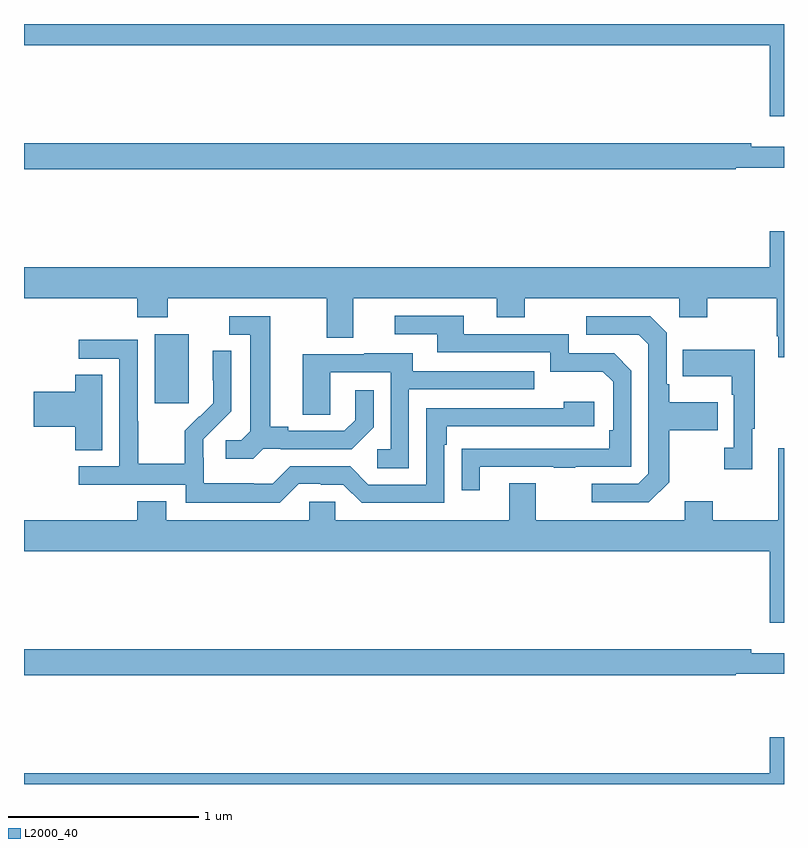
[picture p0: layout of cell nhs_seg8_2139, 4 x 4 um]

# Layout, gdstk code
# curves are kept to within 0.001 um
import gdstk
lib = gdstk.Library(unit=1e-6, precision=1e-09)
def R(c, l, rs):  # rectangles x0, y0, x1, y1
    for r in rs: c.add(gdstk.rectangle(r[:2], r[2:], *l))
def P(c, l, *ps):  # polygons
    for p in ps: c.add(gdstk.Polygon(p, *l))
L2000_40 = (2000, 40)

nhs_seg8_2139 = lib.new_cell('nhs_seg8_2139')
R(nhs_seg8_2139, L2000_40, [(245.687,1159.905,245.866,1160.266)])
P(nhs_seg8_2139, L2000_40, [(249,1161.9),(245,1161.9),(245,1161.788),(248.924,1161.788),(248.924,1161.414),(249,1161.414)],
  [(248.745,1161.144),(249,1161.144),(249,1161.253),(248.828,1161.253),(248.828,1161.272),(245,1161.272),(245,1161.136),(248.745,1161.136)],
  [(245,1160.456),(245.597,1160.456),(245.597,1160.357),(245.757,1160.357),(245.757,1160.456),(246.593,1160.456),(246.593,1160.248),(246.733,1160.248),(246.733,1160.456),(247.487,1160.456),(247.487,1160.357),(247.635,1160.357),(247.635,1160.456),(248.448,1160.456),(248.448,1160.357),(248.595,1160.357),(248.595,1160.456),(248.962,1160.456),(248.962,1160.257),(248.969,1160.257),(248.969,1160.145),(249,1160.145),(249,1160.809),(248.924,1160.809),(248.924,1160.62),(245,1160.62)],
  [(247.399,1159.569),(247.789,1159.569),(247.789,1159.564),(247.901,1159.564),(247.901,1159.569),(248.196,1159.569),(248.196,1160.076),(248.106,1160.166),(247.866,1160.166),(247.866,1160.268),(247.315,1160.268),(247.315,1160.364),(246.951,1160.364),(246.951,1160.268),(247.175,1160.268),(247.175,1160.172),(247.77,1160.172),(247.77,1160.069),(248.047,1160.069),(248.1,1160.016),(248.1,1159.762),(248.08,1159.762),(248.08,1159.665),(247.303,1159.664),(247.303,1159.446),(247.399,1159.446)],
  [(246.258,1159.665),(246.352,1159.665),(246.352,1159.662),(246.724,1159.662),(246.84,1159.778),(246.84,1159.972),(246.743,1159.972),(246.743,1159.815),(246.686,1159.758),(246.391,1159.758),(246.391,1159.781),(246.295,1159.781),(246.295,1160.361),(246.081,1160.361),(246.081,1160.265),(246.191,1160.265),(246.191,1159.757),(246.144,1159.71),(246.063,1159.71),(246.063,1159.613),(246.206,1159.613)],
  [(248.395,1159.489),(248.395,1159.762),(248.651,1159.762),(248.651,1159.909),(248.395,1159.909),(248.395,1160.005),(248.382,1160.005),(248.382,1160.274),(248.295,1160.361),(247.959,1160.361),(247.959,1160.265),(248.235,1160.265),(248.286,1160.214),(248.286,1159.533),(248.232,1159.479),(247.989,1159.479),(247.989,1159.383),(248.289,1159.383)],
  [(246.447,1159.479),(246.563,1159.479),(246.563,1159.476),(246.681,1159.476),(246.777,1159.38),(247.212,1159.38),(247.212,1159.685),(247.225,1159.685),(247.225,1159.782),(248.002,1159.782),(248.002,1159.912),(247.841,1159.912),(247.841,1159.878),(247.116,1159.878),(247.116,1159.476),(246.813,1159.476),(246.717,1159.572),(246.402,1159.572),(246.309,1159.479),(246.209,1159.479),(246.209,1159.483),(245.946,1159.483),(245.946,1159.617),(245.944,1159.617),(245.944,1159.714),(246.09,1159.862),(246.09,1160.18),(245.994,1160.18),(245.994,1160.026),(245.996,1160.026),(245.996,1159.904),(245.925,1159.833),(245.922,1159.836),(245.845,1159.759),(245.845,1159.585),(245.601,1159.585),(245.601,1159.808),(245.598,1159.808),(245.598,1160.238),(245.289,1160.238),(245.289,1160.139),(245.502,1160.139),(245.502,1159.572),(245.289,1159.572),(245.289,1159.476),(245.85,1159.476),(245.85,1159.379),(246.347,1159.379)],
  [(248.833,1159.769),(248.845,1159.769),(248.845,1160.185),(248.467,1160.185),(248.467,1160.045),(248.724,1160.045),(248.724,1159.949),(248.736,1159.949),(248.736,1159.67),(248.685,1159.67),(248.685,1159.557),(248.833,1159.557)],
  [(247.026,1159.977),(247.685,1159.977),(247.685,1160.073),(247.045,1160.073),(247.045,1160.167),(246.791,1160.167),(246.791,1160.163),(246.467,1160.163),(246.467,1159.843),(246.612,1159.843),(246.612,1160.067),(246.93,1160.067),(246.93,1159.662),(246.858,1159.662),(246.858,1159.561),(247.026,1159.561)],
  [(245.413,1160.054),(245.27,1160.054),(245.27,1159.964),(245.052,1159.964),(245.052,1159.781),(245.27,1159.781),(245.27,1159.657),(245.413,1159.657)],
  [(249,1159.666),(248.969,1159.666),(248.969,1159.288),(248.625,1159.288),(248.625,1159.387),(248.477,1159.387),(248.477,1159.288),(247.693,1159.288),(247.693,1159.483),(247.553,1159.483),(247.553,1159.288),(246.639,1159.288),(246.639,1159.386),(246.501,1159.386),(246.501,1159.288),(245.749,1159.288),(245.749,1159.387),(245.597,1159.387),(245.597,1159.288),(245,1159.288),(245,1159.124),(248.924,1159.124),(248.924,1158.75),(249,1158.75)],
  [(248.745,1158.48),(249,1158.48),(249,1158.589),(248.828,1158.589),(248.828,1158.608),(245,1158.608),(245,1158.472),(248.745,1158.472)],
  [(249,1158.145),(248.924,1158.145),(248.924,1157.956),(245,1157.956),(245,1157.9),(249,1157.9)])

lib.write_gds('nhs_seg8_2139.gds')
